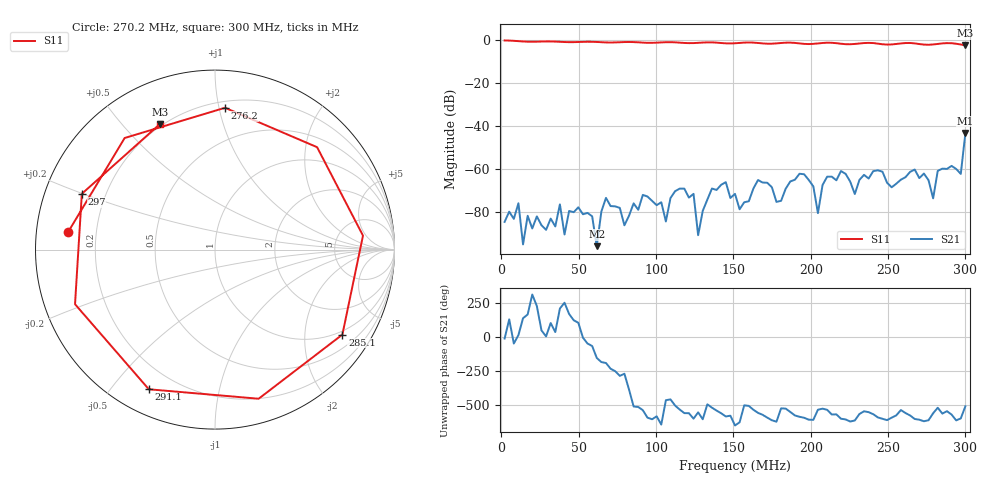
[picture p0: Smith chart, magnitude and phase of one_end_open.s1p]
# Hz S RI R 50
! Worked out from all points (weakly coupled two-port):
!   101 points, 2.05 MHz to 300 MHz, reference 50 ohm
!   highest |S21| = -43.10 dB at 300 MHz (marker M1); lowest = -95.8 dB at 61.64 MHz (marker M2)
!   lowest |S11| = -2.3 dB at 300 MHz (marker M3), VSWR 7.45, Z = 9.49 + j31.8 ohm
!   |S11| at or under -10 dB: nowhere
!   S12 and S22 are empty: the file has one direction only
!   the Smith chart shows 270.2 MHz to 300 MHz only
!   S11 on the Smith chart (normalised r, x): 270.2 MHz: 0.10, +0.06; 276.2 MHz: 0.25, +1.04; 285.1 MHz: 0.88, -3.07; 291.1 MHz: 0.10, -0.63; 297 MHz: 0.11, +0.20; 300 MHz: 0.19, +0.64
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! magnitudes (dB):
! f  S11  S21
! 2.05 MHz  0.0  -84.5
! 52.7 MHz  -0.7  -80.9
! 61.64 MHz  -0.7  -95.8
! 103.4 MHz  -0.9  -75.3
! 151 MHz  -1.3  -71.4
! 154 MHz  -1.2  -78.6
! 165.9 MHz  -1.2  -65.0
! 177.8 MHz  -1.4  -75.2
! 201.7 MHz  -1.6  -68.0
! 204.7 MHz  -1.4  -80.4
! 210.6 MHz  -1.1  -63.4
! 219.6 MHz  -1.5  -60.8
! 228.5 MHz  -1.6  -71.5
! 240.4 MHz  -1.2  -60.9
! 252.3 MHz  -1.9  -68.4
! 270.2 MHz  -1.7  -64.1
! 276.2 MHz  -2.0  -65.1
! 279.1 MHz  -1.9  -73.5
! 285.1 MHz  -1.4  -59.7
! 291.1 MHz  -1.3  -58.4
! 297 MHz  -1.9  -62.2
! 300 MHz  -2.3  -43.1
